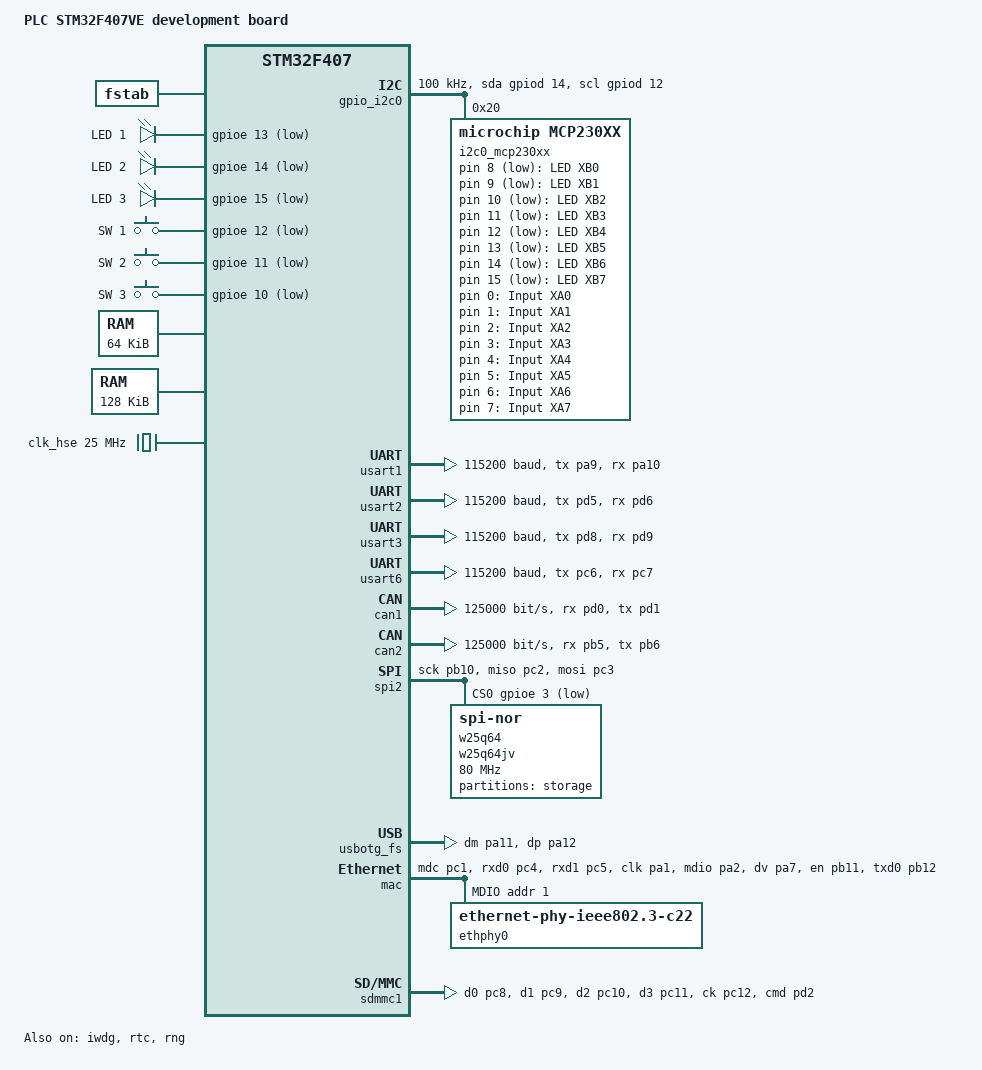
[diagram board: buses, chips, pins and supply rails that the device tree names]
/*
 * Copyright (c) 2017 Linaro Limited
 *
 * SPDX-License-Identifier: Apache-2.0
 */

/dts-v1/;
#include <st/f4/stm32f407Xe.dtsi>
#include <st/f4/stm32f407v(e-g)tx-pinctrl.dtsi>
#include <zephyr/dt-bindings/input/input-event-codes.h>

/ {
	model = "PLC STM32F407VE development board"; 
	compatible = "st,stm32f407";
	
	// USART6 is /dev/ttyUSB0
	// USART6 is /dev/ttyUSB1
	// USART3 is /dev/ttyACM0
	chosen {
		zephyr,console = &usart6;		
		zephyr,shell-uart = &usart6;	
		zephyr,uart-mcumgr= &usart3; 	
		zephyr,sram = &sram0;
		zephyr,flash = &flash0;
		zephyr,code-partition = &boot_partition;
		zephyr,ccm = &ccm0;
		zephyr,canbus = &can2;
	};
	
	aliases {
		usart-modbus  = &usart2;
		usart-rs232   = &usart1;
		usart-tdebug  = &cdc_acm_uart0;
		led0 = &green_led_1;
		led1 = &green_led_2;
		led2 = &green_led_3;

		sw0 = &user_button_1;
		sw1 = &user_button_2;
		sw2 = &user_button_3;
		
		spi-flash0 = &w25q64;

		out0 = &out0;
		out1 = &out1;
		out2 = &out2;
		out3 = &out4;
		out4 = &out0;
		out5 = &out1;
		out6 = &out2;
		out7 = &out4;

		watchdog0 = &iwdg;
	};

	rtt0: rtt_chan0 {
		compatible = "segger,rtt-uart";
		status = "okay";
	};


	rtt1: rtt_chan1 {
		compatible = "segger,rtt-uart";
		status = "okay";
	};

	fstab {
		compatible = "zephyr,fstab";
		lfs1: lfs1 {
			compatible = "zephyr,fstab,littlefs";
			mount-point = "/lfs:";
			partition = <&storage_partition>;
			automount;
			read-size = <256>;
			prog-size = <256>;
			cache-size = <256>;
			lookahead-size = <256>;
			block-cycles = <512>;
		};
	};
	
	leds {
		compatible = "gpio-leds";
		green_led_1: led_1 {
			gpios = <&gpioe 13 GPIO_ACTIVE_LOW>;
			label = "LED 1";
		};
		green_led_2: led_2 {
			gpios = <&gpioe 14 GPIO_ACTIVE_LOW>;
			label = "LED 2";
		};
		green_led_3: led_3 {
			gpios = <&gpioe 15 GPIO_ACTIVE_LOW>;
			label = "LED 3";
		};
	};

	gpio_keys {
		compatible = "gpio-keys";
		user_button_1: button_1 {
			label = "SW 1";
			gpios = <&gpioe 12 GPIO_ACTIVE_LOW>;
			zephyr,code = <INPUT_KEY_0>;
		};
		user_button_2: button_2 {
			label = "SW 2";
			gpios = <&gpioe 11 GPIO_ACTIVE_LOW>;
			zephyr,code = <INPUT_KEY_1>;
		};
		user_button_3: button_3 {
			label = "SW 3";
			gpios = <&gpioe 10 GPIO_ACTIVE_LOW>;
			zephyr,code = <INPUT_KEY_2>;
		};
	};

	outputs {
		compatible = "gpio-leds";

		out0: out_b0 {
			gpios = <&i2c0_mcp230xx 8 GPIO_ACTIVE_LOW>;
			label = "LED XB0";
		};
		
		out1: out_b1 {
			gpios = <&i2c0_mcp230xx 9 GPIO_ACTIVE_LOW>;
			label = "LED XB1";
		};
		out2: out_b2 {
			gpios = <&i2c0_mcp230xx 10 GPIO_ACTIVE_LOW>;
			label = "LED XB2";
		};
		out3: out_b3 {
			gpios = <&i2c0_mcp230xx 11 GPIO_ACTIVE_LOW>;
			label = "LED XB3";
		};
		out4: out_b4 {
			gpios = <&i2c0_mcp230xx 12 GPIO_ACTIVE_LOW>;
			label = "LED XB4";
		};
		out5: out_b5 {
			gpios = <&i2c0_mcp230xx 13 GPIO_ACTIVE_LOW>;
			label = "LED XB5";
		};
		out6: out_b6 {
			gpios = <&i2c0_mcp230xx 14 GPIO_ACTIVE_LOW>;
			label = "LED XB6";
		};
		out7: out_b7 {
			gpios = <&i2c0_mcp230xx 15 GPIO_ACTIVE_LOW>;
			label = "LED XB7";
		};
	};

	inputs {
		compatible = "gpio-keys";
		in0: in_a0 {
			gpios = <&i2c0_mcp230xx 0 GPIO_ACTIVE_HIGH>;
			zephyr,code = <INPUT_KEY_0>;
			label = "Input XA0";
		};
		in1: in_a1 {
			gpios = <&i2c0_mcp230xx 1 GPIO_ACTIVE_HIGH>;
			label = "Input XA1";
		};
		in2: in_a2 {
			gpios = <&i2c0_mcp230xx 2 GPIO_ACTIVE_HIGH>;
			label = "Input XA2";
		};
		in3: in_a3 {
			gpios = <&i2c0_mcp230xx 3 GPIO_ACTIVE_HIGH>;
			label = "Input XA3";
		};
		in4: in_a4 {
			gpios = <&i2c0_mcp230xx 4 GPIO_ACTIVE_HIGH>;
			label = "Input XA4";
		};
		in5: in_a5 {
			gpios = <&i2c0_mcp230xx 5 GPIO_ACTIVE_HIGH>;
			label = "Input XA5";
		};
		in6: in_a6 {
			gpios = <&i2c0_mcp230xx 6 GPIO_ACTIVE_HIGH>;
			label = "Input XA6";
		};
		in7: in_a7 {
			gpios = <&i2c0_mcp230xx 7 GPIO_ACTIVE_HIGH>;
			label = "Input XA7";
		};
	};

	gpio_i2c0: gpio_i2c {                                                                                         
		compatible = "gpio-i2c";
		status = "okay";
		clock-frequency = <I2C_BITRATE_STANDARD>;
		sda-gpios = <&gpiod 14 (GPIO_OPEN_DRAIN | GPIO_PULL_UP)>;
		scl-gpios = <&gpiod 12 (GPIO_OPEN_DRAIN | GPIO_PULL_UP)>;
		#address-cells = <1>;
		#size-cells = <0>;
		i2c0_mcp230xx: mcp230xx@20 {
			compatible = "microchip,mcp230xx";
			reg = <0x20>;
			gpio-controller;
			#gpio-cells = <2>;
			ngpios = <16>;
		};
	};
};

/ {
	ccm0: memory@10000000 {
		compatible = "zephyr,memory-region", "st,stm32-ccm";
		reg = <0x10000000 DT_SIZE_K(64)>;
		zephyr,memory-region = "CCM";
	};

	sram0: memory@20000000 {
		reg = <0x20000000 DT_SIZE_K(128)>;
	};

	soc {
		flash-controller@40023c00 {
			flash0: flash@8000000 {
				reg = <0x08000000 DT_SIZE_K(512)>;
				partitions {
					compatible = "fixed-partitions";
					#address-cells = <0x1>;
					#size-cells = <0x1>;
						boot_partition: partition@0 {
							label = "boot_partition";
							reg = <0x00000000 DT_SIZE_K(384)>;	// 384K stm32 flash memory
							read-only;
						};
						plc_partition: partition@60000 {
							label = "plc_partition";
							reg = <0x00060000 DT_SIZE_K(128)>;	// 128K plc flash memory
						};
					};
				};			
			};
		};
	};
	
&wwdg {
	status = "disabled";
};

&iwdg {
	status = "okay";
};

&usart1 {	// USART1 is connected to MAX232
	pinctrl-0 = <&usart1_tx_pa9 &usart1_rx_pa10>;
	pinctrl-names = "default";
	current-speed = <115200>;
	status = "okay";
};

&usart2 {	// USART2 is connected to RS485 DE is on PD7
	pinctrl-0 = <&usart2_tx_pd5 &usart2_rx_pd6>;
	pinctrl-names = "default";
	current-speed = <115200>;
	status = "okay";
};

&usart3 {	// USART3 is on PD8(TX) and PD9(RX)	-> Header P5:14 TX and P5:11 RX
	pinctrl-0 = <&usart3_tx_pd8 &usart3_rx_pd9>;
	pinctrl-names = "default";
	current-speed = <115200>;
	status = "okay";
};

&usart6 {	// USART6 is on PC6(TX) and PC7(RX)	-> Header P5:4 TX and P5:3 RX
	pinctrl-0 = <&usart6_tx_pc6 &usart6_rx_pc7>;
	pinctrl-names = "default";
	current-speed = <115200>;
	status = "okay";
};

&can1 {
	pinctrl-0 = <&can1_rx_pd0 &can1_tx_pd1>;
	pinctrl-names = "default";
	bus-speed = <125000>;
	status = "okay";
};

&can2 {
	pinctrl-0 = <&can2_rx_pb5 &can2_tx_pb6>;
	pinctrl-names = "default";
	bus-speed = <125000>;
	status = "okay";
};

// W25Q64 Flash 8MB
&spi2 {
	pinctrl-0 = <&spi2_sck_pb10 &spi2_miso_pc2 &spi2_mosi_pc3>;
	pinctrl-names = "default";
	status = "okay";

	cs-gpios = <&gpioe 3 GPIO_ACTIVE_LOW>;
		w25q64: w25q64jv@0 {
		compatible = "jedec,spi-nor";
		reg = <0>;
		spi-max-frequency = <80000000>;
		jedec-id = [ef 40 17];
		size = <0x4000000>;
		has-dpd;
		t-enter-dpd = <3500>;
		t-exit-dpd = <3500>;
	};
};

&w25q64 {
    partitions {
        compatible = "fixed-partitions";
        #address-cells = <1>;
        #size-cells = <1>;

		/* 8 MB partition */
		storage_partition: partition@0 {
			label = "storage";
			reg = <0x00000000 DT_SIZE_M(8)>;
		}; 
    };
};

&clk_lsi {
	status = "okay";
};

&clk_lse {
	status = "okay";
};

&clk_hse {
	clock-frequency = <DT_FREQ_M(25)>;
	status = "okay";
};

&pll {
	div-m = <25>;
	mul-n = <336>;
	div-p = <2>;
	div-q = <7>;
	clocks = <&clk_hse>;
	status = "okay";
};

&rcc {
	clocks = <&pll>;
	clock-frequency = <DT_FREQ_M(168)>;
	ahb-prescaler = <1>;
	apb1-prescaler = <4>;
	apb2-prescaler = <2>;
};

&rtc {
	clocks = <&rcc STM32_CLOCK_BUS_APB1 0x10000000>,
		 //<&rcc STM32_SRC_LSI RTC_SEL(2)>;
		 <&rcc STM32_SRC_LSE RTC_SEL(1)>;
	status = "okay";

	backup_regs {
		status = "okay";
	};
};

zephyr_udc0: &usbotg_fs {
	pinctrl-0 = <&usb_otg_fs_dm_pa11 &usb_otg_fs_dp_pa12>;
	num-bidir-endpoints = <4>;
	ram-size = <4096>;
	pinctrl-names = "default";
	status = "okay";
	
	cdc_acm_uart0: cdc_acm_uart0 {
		compatible = "zephyr,cdc-acm-uart";
	};
};
&mac {
	status = "okay";
	pinctrl-0 = <
			&eth_mdc_pc1
		    &eth_rxd0_pc4		
		    &eth_rxd1_pc5
		    &eth_ref_clk_pa1
		    &eth_mdio_pa2
		    &eth_crs_dv_pa7
		    &eth_tx_en_pb11
		    &eth_txd0_pb12	
		    &eth_txd1_pb13>;	
	pinctrl-names = "default";
	mdio {
		compatible = "st,stm32f4-mdio";
		#address-cells = <1>;
		#size-cells = <0>;
		ethphy0: ethernet-phy@1 {
			compatible = "ethernet-phy-ieee802.3-c22";
			reg = <1>;
		};
	};
};

&rng {
	status = "okay";
};

&sdmmc1 {
	status = "okay";

	pinctrl-0 = <&sdio_d0_pc8
		     &sdio_d1_pc9
		     &sdio_d2_pc10
		     &sdio_d3_pc11
		     &sdio_ck_pc12
		     &sdio_cmd_pd2>;

	pinctrl-names = "default";

	cd-gpios = <&gpiod 3 GPIO_ACTIVE_LOW>;
};

&die_temp {
	status = "disabled";
};
